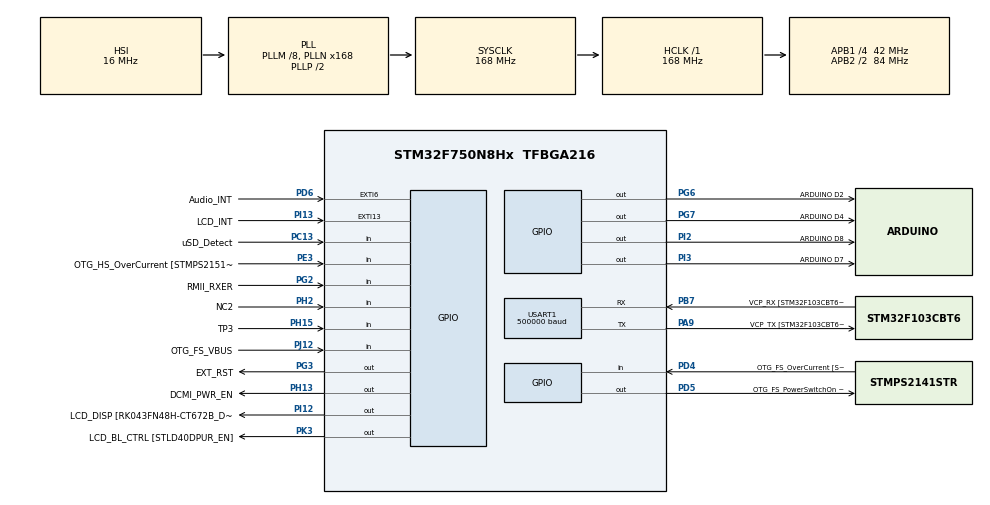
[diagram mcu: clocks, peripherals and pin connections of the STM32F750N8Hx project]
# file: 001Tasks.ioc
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PD12.GPIO_Label=QSPI_D1 [N25Q128A13EF840E_DQ1]
SH.FMC_A0.0=FMC_A0
PH15.GPIO_Label=TP3
NVIC.TIM6_DAC_IRQn=true\:0\:0\:false\:false\:true\:false\:true
PG8.Signal=FMC_SDCLK
PG0.Signal=FMC_A10
PI15.GPIO_Label=LCD_R0 [RK043FN48H-CT672B_R0]
PK1.Signal=LTDC_G6
SH.FMC_D5_DA5.0=FMC_D5
PF10.GPIO_PuPd=GPIO_NOPULL
SH.FMC_D9_DA9.0=FMC_D9
PG15.GPIO_Label=FMC_SDNCAS [MT48LC4M32B2B5-6A_CAS]
PF7.Signal=ADC3_IN5
SH.FMC_SDNWE.0=FMC_SDNWE
PH9.Signal=DCMI_D0
SH.FMC_D11_DA11.0=FMC_D11
RCC.APB2TimFreq_Value=168000000
PB6.Signal=QUADSPI_BK1_NCS
PC7.Signal=USART6_RX
PD0.Signal=FMC_D2_DA2
PD8.Signal=FMC_D13_DA13
PE1.Signal=FMC_NBL1
PF1.GPIO_Label=FMC_A1 [MT48LC4M32B2B5-6A_A1]
PI4.GPIO_Label=SAI2_MCLKA [WM8994ECS/R_MCLK1]
PK4.GPIO_Label=LCD_B5 [RK043FN48H-CT672B_B5]
PD1.GPIO_Label=FMC_D3 [MT48LC4M32B2B5-6A_DQ3]
PB12.GPIO_Label=ULPI_D5 [USB3320C-EZK_D5]
PF12.GPIO_Label=FMC_A6 [MT48LC4M32B2B5-6A_A6]
SH.S_TIM12_CH1.0=TIM12_CH1
PC4.GPIO_Label=RMII_RXD0 [LAN8742A-CZ-TR_RXD0]
PE9.Signal=FMC_D6_DA6
SH.FMC_A2.0=FMC_A2
PB1.GPIO_Label=ULPI_D2 [USB3320C-EZK_D2]
PE4.GPIO_Label=LCD_B0 [RK043FN48H-CT672B_B0]
PG4.GPIO_Label=FMC_BA0 [MT48LC4M32B2B5-6A_BA0]
PA8.Signal=S_TIM1_CH1
SH.FMC_D1_DA1.0=FMC_D1
PJ14.Signal=LTDC_B2
PB9.Signal=I2C1_SDA
Mcu.Package=TFBGA216
PB1.Signal=USB_OTG_HS_ULPI_D2
PB14.GPIO_PuPd=GPIO_NOPULL
NVIC.TimeBase=TIM6_DAC_IRQn
PD12.Signal=QUADSPI_BK1_IO1
NVIC.TimeBaseIP=TIM6
PA10.Signal=USB_OTG_FS_ID
PE12.GPIO_Label=FMC_D9 [MT48LC4M32B2B5-6A_DQ9]
RCC.APB2CLKDivider=RCC_HCLK_DIV2
RCC.APB1TimFreq_Value=84000000
PC14/OSC32_IN.GPIO_Label=RCC_OSC32_IN
PF9.GPIO_PuPd=GPIO_NOPULL
PA4.GPIO_Label=DCMI_HSYNC
PA8.GPIO_Speed=GPIO_SPEED_FREQ_LOW
PD15.Signal=FMC_D1_DA1
PJ1.GPIO_Label=LCD_R2 [RK043FN48H-CT672B_R2]
PG12.Signal=LTDC_B4
SH.FMC_A4.0=FMC_A4
PK4.Signal=LTDC_B5
PH13.Signal=GPIO_Output
PI13.GPIO_ModeDefaultEXTI=GPIO_MODE_EVT_RISING
PG5.Signal=FMC_A15_BA1
PC13.Signal=GPIO_Input
SH.FMC_D10_DA10.0=FMC_D10
PD3.Signal=DCMI_D5
PC2.Signal=USB_OTG_HS_ULPI_DIR
PI12.Signal=GPIO_Output
RCC.PWR_Regulator_Voltage_Scale=PWR_REGULATOR_VOLTAGE_SCALE2
PJ11.Signal=LTDC_G4
PF8.GPIO_Label=ARDUINO A3
PD10.Signal=FMC_D15_DA15
PB8.GPIO_Label=ARDUINO SCL/D15
PJ8.GPIO_Label=LCD_G1 [RK043FN48H-CT672B_G1]
PJ3.Signal=LTDC_R4
PI8.GPIO_Label=NC1 [TP2]
PA8.GPIO_Label=ARDUINO PWM/D10
PE8.GPIO_Label=FMC_D5 [MT48LC4M32B2B5-6A_DQ5]
PH11.GPIO_Label=DCMI_D2
PJ11.GPIO_Label=LCD_G4 [RK043FN48H-CT672B_G4]
PB14.Signal=SPI2_MISO
PA5.Signal=USB_OTG_HS_ULPI_CK
PF10.GPIO_Mode=GPIO_MODE_ANALOG
PJ4.GPIO_Label=LCD_R5 [RK043FN48H-CT672B_R5]
PE1.GPIO_Label=FMC_NBL1 [MT48LC4M32B2B5-6A_DQM1]
PK7.GPIO_Label=LCD_DE [RK043FN48H-CT672B_DE]
PI7.Signal=SAI2_FS_A
SH.FMC_A6.0=FMC_A6
PE14.Signal=FMC_D11_DA11
PB4.GPIO_Label=ARDUINO PWM/D3
PB15.GPIO_Label=ARDUINO MOSI/PWM/D11
PG7.GPIO_Label=ARDUINO D4
PI2.Signal=GPIO_Output
PF4.GPIO_Label=FMC_A4 [MT48LC4M32B2B5-6A_A4]
PA1.GPIO_Label=RMII_REF_CLK [LAN8742A-CZ-TR_REFCLK0]
PF13.Signal=FMC_A7
PA0/WKUP.GPIO_PuPd=GPIO_NOPULL
PJ15.GPIO_Label=LCD_B3 [RK043FN48H-CT672B_B3]
PC7.GPIO_Label=ARDUINO RX/D0
PA5.GPIO_Label=ULPI_CLK [USB3320C-EZK_CLKOUT]
PE5.GPIO_Label=DCMI_D6
PC12.GPIO_Label=SDMMC_CK
PJ8.Signal=LTDC_G1
PJ0.GPIO_Label=LCD_R1 [RK043FN48H-CT672B_R1]
ProjectManager.HeapSize=0x200
PH6.Signal=S_TIM12_CH1
NVIC.PriorityGroup=NVIC_PRIORITYGROUP_4
PF0.GPIO_Label=FMC_A0 [MT48LC4M32B2B5-6A_A0]
PI1.GPIO_Mode=GPIO_MODE_AF_PP
PE3.Signal=GPIO_Input
PC15/OSC32_OUT.Signal=RCC_OSC32_OUT
PF4.Signal=FMC_A4
PD2.Signal=SDMMC1_CMD
PI1.GPIO_Label=ARDUINO SCK/D13
Mcu.Family=STM32F7
PK3.Signal=GPIO_Output
SH.FMC_A8.0=FMC_A8
PC15/OSC32_OUT.GPIO_Label=RCC_OSC32_OUT
PH14.Signal=DCMI_D4
PH10.Signal=DCMI_D1
SH.FMC_D14_DA14.0=FMC_D14
PG2.Signal=GPIO_Input
PE11.GPIO_Label=FMC_D8 [MT48LC4M32B2B5-6A_DQ8]
USART1.BaudRate=500000
PD0.GPIO_Label=FMC_D2 [MT48LC4M32B2B5-6A_DQ2]
SH.FMC_A14_BA0.0=FMC_BA0
SH.FMC_A11.0=FMC_A11
PB13.GPIO_Label=ULPI_D6 [USB3320C-EZK_D6]
PG5.GPIO_Label=FMC_BA1 [MT48LC4M32B2B5-6A_BA1]
PB15.Signal=SPI2_MOSI
PG15.Signal=FMC_SDNCAS
PG11.Signal=ETH_TX_EN
PJ5.GPIO_Label=LCD_R6 [RK043FN48H-CT672B_R6]
PJ14.GPIO_Label=LCD_B2 [RK043FN48H-CT672B_B2]
PD13.Signal=QUADSPI_BK1_IO3
PA15.GPIO_Label=ARDUINO PWM/D9
PJ2.Signal=LTDC_R3
RCC.FLatency=FLASH_LATENCY_5
SH.FMC_NBL1.0=FMC_NBL1
PA15.GPIO_ModeDefaultPP=GPIO_MODE_AF_PP
RCC.HSE_VALUE=25000000
PF7.GPIO_Mode=GPIO_MODE_ANALOG
PF8.GPIO_PuPd=GPIO_NOPULL
PH7.GPIO_Label=LCD_SCL [RK043FN48H-CT672B_SCL]
PJ7.GPIO_Label=LCD_G0 [RK043FN48H-CT672B_G0]
PF11.Signal=FMC_SDNRAS
PC11.GPIO_Label=SDMMC_D3
PJ12.GPIO_Label=OTG_FS_VBUS
PB7.Signal=USART1_RX
SH.S_TIM3_CH1.0=TIM3_CH1
PB7.GPIO_Label=VCP_RX [STM32F103CBT6_PA2]
PD13.GPIO_Label=QSPI_D3 [N25Q128A13EF840E_DQ3]
PA6.Signal=DCMI_PIXCLK
PB15.GPIO_PuPd=GPIO_NOPULL
PD5.GPIO_Label=OTG_FS_PowerSwitchOn [STMPS2141STR_EN]
PA15.Signal=S_TIM2_CH1_ETR
PF8.Signal=ADC3_IN6
PG0.GPIO_Label=FMC_A10 [MT48LC4M32B2B5-6A_A10]
PI0.GPIO_Label=ARDUINO PWM/CS/D5
PA0/WKUP.GPIO_Mode=GPIO_MODE_ANALOG
PB5.GPIO_Label=ULPI_D7 [USB3320C-EZK_D7]
PG11.GPIO_Label=RMII_TX_EN [LAN8742A-CZ-TR_TXEN]
PD3.GPIO_Label=DCMI_D5
PC5.Signal=ETH_RXD1
PE7.Signal=FMC_D4_DA4
PD6.Signal=GPXTI6
PF3.GPIO_Label=FMC_A3 [MT48LC4M32B2B5-6A_A3]
PE2.GPIO_Label=QSPI_D2 [N25Q128A13EF840E_DQ2]
PB4.Signal=S_TIM3_CH1
PG2.GPIO_Label=RMII_RXER
PA3.Signal=USB_OTG_HS_ULPI_D0
PK6.Signal=LTDC_B7
PD15.GPIO_Label=FMC_D1 [MT48LC4M32B2B5-6A_DQ1]
PG7.Signal=GPIO_Output
PH12.GPIO_Label=DCMI_D3
PC11.Signal=SDMMC1_D3
PI14.Signal=LTDC_CLK
PC8.Signal=SDMMC1_D0
PE14.GPIO_Label=FMC_D11 [MT48LC4M32B2B5-6A_DQ11]
PD9.Signal=FMC_D14_DA14
PA9.GPIO_PuPd=GPIO_NOPULL
PA12.GPIO_Label=OTG_FS_P
PD8.GPIO_Label=FMC_D13 [MT48LC4M32B2B5-6A_DQ13]
PG8.GPIO_Label=FMC_SDCLK [MT48LC4M32B2B5-6A_CLK]
USART1.VirtualMode-Asynchronous=VM_ASYNC
PA13.Signal=SYS_JTMS-SWDIO
PA9.Mode=Asynchronous
SH.S_TIM1_CH1.0=TIM1_CH1
PF6.Signal=ADC3_IN4
PB10.GPIO_Label=ULPI_D3 [USB3320C-EZK_D3]
SH.FMC_D13_DA13.0=FMC_D13
PH8.Signal=I2C3_SDA
RCC.USBFreq_Value=168000000
PF9.GPIO_Label=ARDUINO A2
PD10.GPIO_Label=FMC_D15 [MT48LC4M32B2B5-6A_DQ15]
PA1.Signal=ETH_REF_CLK
board=STM32F7508-DK
RCC.VCOOutputFreq_Value=336000000
PI9.Signal=LTDC_VSYNC
PH4.GPIO_Label=ULPI_NXT [USB3320C-EZK_NXT]
PI13.GPIO_Label=LCD_INT
PI4.Signal=SAI2_MCLK_A
PC1.GPIO_Label=RMII_MDC [LAN8742A-CZ-TR_MDC]
SH.FMC_D12_DA12.0=FMC_D12
PF15.GPIO_Label=FMC_A9 [MT48LC4M32B2B5-6A_A9]
PI1.GPIO_Speed=GPIO_SPEED_FREQ_LOW
PF1.Signal=FMC_A1
PF8.GPIO_Mode=GPIO_MODE_ANALOG
PJ0.Signal=LTDC_R1
PE0.Signal=FMC_NBL0
PE7.GPIO_Label=FMC_D4 [MT48LC4M32B2B5-6A_DQ4]
PE12.Signal=FMC_D9_DA9
RCC.SYSCLKFreq_VALUE=168000000
USART1.OverSampling=UART_OVERSAMPLING_8
PJ5.Signal=LTDC_R6
PA15.GPIO_Speed=GPIO_SPEED_FREQ_LOW
RCC.HSI_VALUE=16000000
PA8.GPIO_PuPd=GPIO_NOPULL
PH0/OSC_IN.GPIO_Label=OSC_25M [NZ2520SB-25.00M_OUT]
PF9.GPIO_Mode=GPIO_MODE_ANALOG
PI3.GPIO_Label=ARDUINO D7
PH3.Signal=FMC_SDNE0
RCC.PLLM=8
RCC.PLLN=168
PA9.GPIO_Speed=GPIO_SPEED_FREQ_LOW
PB8.GPIO_Speed=GPIO_SPEED_FREQ_LOW
PJ2.GPIO_Label=LCD_R3 [RK043FN48H-CT672B_R3]
PB14.GPIO_Mode=GPIO_MODE_AF_PP
PB12.Signal=USB_OTG_HS_ULPI_D5
PJ13.Signal=LTDC_B1
PK1.GPIO_Label=LCD_G6 [RK043FN48H-CT672B_G6]
PA3.GPIO_Label=ULPI_D0 [USB3320C-EZK_D0]
SH.FMC_D7_DA7.0=FMC_D7
PK5.Signal=LTDC_B6
PB15.GPIO_Mode=GPIO_MODE_AF_PP
VP_SYS_VS_tim6.Mode=TIM6
PH12.Signal=DCMI_D3
PG4.Signal=FMC_A14_BA0
PC12.Signal=SDMMC1_CK
PB14.GPIO_Label=ARDUINO MISO/D12
PA14.GPIO_Label=SWCLK
PG6.GPIO_Label=ARDUINO D2
PH6.GPIO_Label=ARDUINO PWM/D6
PK6.GPIO_Label=LCD_B7 [RK043FN48H-CT672B_B7]
PC6.GPIO_Label=ARDUINO TX/D1
PB6.GPIO_Label=QSPI_NCS [N25Q128A13EF840E_S]
PI6.GPIO_Label=SAI2_SDA [WM8994ECS/R_DACDAT1]
PJ6.GPIO_Label=LCD_R7 [RK043FN48H-CT672B_R7]
PB13.Signal=USB_OTG_HS_ULPI_D6
PD6.GPIO_Label=Audio_INT
PG13.Signal=ETH_TXD0
PE6.GPIO_Label=DCMI_D7
PF6.GPIO_Label=ARDUINO A5
RCC.SYSCLKSource=RCC_SYSCLKSOURCE_PLLCLK
PJ10.Signal=LTDC_G3
SH.FMC_A15_BA1.0=FMC_BA1
PJ13.GPIO_Label=LCD_B1 [RK043FN48H-CT672B_B1]
PI0.GPIO_PuPd=GPIO_NOPULL
PH5.Signal=FMC_SDNWE
PD4.Signal=GPIO_Input
PH1/OSC_OUT.Signal=RCC_OSC_OUT
PC3.Signal=FMC_SDCKE0
PE5.Signal=DCMI_D6
PF10.GPIO_Label=ARDUINO A1
PH10.GPIO_Label=DCMI_D1
PB2.Signal=QUADSPI_CLK
PI6.Signal=SAI2_SD_A
PI3.Signal=GPIO_Output
PE2.Signal=QUADSPI_BK1_IO2
PF3.Signal=FMC_A3
PE10.Signal=FMC_D7_DA7
PD6.GPIO_ModeDefaultEXTI=GPIO_MODE_EVT_RISING
PJ4.Signal=LTDC_R5
SH.FMC_A1.0=FMC_A1
PH2.Signal=GPIO_Input
SH.FMC_SDCLK.0=FMC_SDCLK
PF14.Signal=FMC_A8
PF6.GPIO_Mode=GPIO_MODE_ANALOG
NVIC.USART1_IRQn=true\:0\:0\:false\:false\:true\:true\:true
PE10.GPIO_Label=FMC_D7 [MT48LC4M32B2B5-6A_DQ7]
SH.FMC_D3_DA3.0=FMC_D3
PI10.GPIO_Label=LCD_HSYNC [RK043FN48H-CT672B_HSYNC]
PB7.GPIO_PuPd=GPIO_NOPULL
PH15.Signal=GPIO_Input
PD9.GPIO_Label=FMC_D14 [MT48LC4M32B2B5-6A_DQ14]
PG9.Signal=DCMI_VSYNC
PA9.GPIO_Label=VCP_TX [STM32F103CBT6_PA3]
PC6.Signal=USART6_TX
PB11.GPIO_Label=ULPI_D4 [USB3320C-EZK_D4]
PD7.Signal=SPDIFRX_IN0
PD1.Signal=FMC_D3_DA3
PA11.GPIO_Label=OTG_FS_N
PF14.GPIO_Label=FMC_A8 [MT48LC4M32B2B5-6A_A8]
PC0.Signal=USB_OTG_HS_ULPI_STP
RCC.APB1CLKDivider=RCC_HCLK_DIV4
PF13.GPIO_Label=FMC_A7 [MT48LC4M32B2B5-6A_A7]
PG13.GPIO_Label=RMII_TXD0 [LAN8742A-CZ-TR_TXD0]
PG10.Signal=SAI2_SD_B
SH.FMC_A3.0=FMC_A3
PJ7.Signal=LTDC_G0
PI0.GPIO_Speed=GPIO_SPEED_FREQ_LOW
PB14.GPIO_Speed=GPIO_SPEED_FREQ_LOW
SH.FMC_D15_DA15.0=FMC_D15
PA9.Signal=USART1_TX
PB4.GPIO_PuPd=GPIO_NOPULL
PE9.GPIO_Label=FMC_D6 [MT48LC4M32B2B5-6A_DQ6]
PB10.Signal=USB_OTG_HS_ULPI_D3
PJ15.Signal=LTDC_B3
PH9.GPIO_Label=DCMI_D0
PI9.GPIO_Label=LCD_VSYNC [RK043FN48H-CT672B_VSYNC]
PA8.GPIO_ModeDefaultPP=GPIO_MODE_AF_PP
PE15.Signal=FMC_D12_DA12
PE8.Signal=FMC_D5_DA5
PI1.Signal=SPI2_SCK
PA0/WKUP.GPIO_Label=ARDUINO A0
PG14.GPIO_Label=RMII_TXD1 [LAN8742A-CZ-TR_TXD1]
SH.FMC_SDNCAS.0=FMC_SDNCAS
PF7.GPIO_PuPd=GPIO_NOPULL
PH14.GPIO_Label=DCMI_D4
PA4.Signal=DCMI_HSYNC
PB5.Signal=USB_OTG_HS_ULPI_D7
PE13.GPIO_Label=FMC_D10 [MT48LC4M32B2B5-6A_DQ10]
PD11.Signal=QUADSPI_BK1_IO0
SH.FMC_A5.0=FMC_A5
PA11.Signal=USB_OTG_FS_DM
SH.S_TIM2_CH1_ETR.0=TIM2_CH1
PK3.GPIO_Label=LCD_BL_CTRL [STLD40DPUR_EN]
PF9.Signal=ADC3_IN7
PF6.GPIO_PuPd=GPIO_NOPULL
PC3.GPIO_Label=FMC_SDCKE0 [MT48LC4M32B2B5-6A_CKE]
PG3.GPIO_Label=EXT_RST
PB0.Signal=USB_OTG_HS_ULPI_D1
PC1.Signal=ETH_MDC
PG10.GPIO_Label=SAI2_SDB [WM8994ECS/R_ADCDAT1]
PD2.GPIO_Label=SDMMC_D0
PH2.GPIO_Label=NC2
PK7.Signal=LTDC_DE
RCC.CortexFreq_Value=168000000
PG6.Signal=GPIO_Output
PC10.Signal=SDMMC1_D2
SH.FMC_NBL0.0=FMC_NBL0
PC0.GPIO_Label=ULPI_STP [USB3320C-EZK_STP]
SH.FMC_D6_DA6.0=FMC_D6
PA0/WKUP.Signal=ADCx_IN0
PB0.GPIO_Label=ULPI_D1 [USB3320C-EZK_D1]
PH5.GPIO_Label=FMC_SDNME [MT48LC4M32B2B5-6A_WE]
PI5.GPIO_Label=SAI2_SCKA [WM8994ECS/R_BCLK1]
PC13.GPIO_Label=uSD_Detect
PK5.GPIO_Label=LCD_B6 [RK043FN48H-CT672B_B6]
PB11.Signal=USB_OTG_HS_ULPI_D4
PI14.GPIO_Label=LCD_CLK [RK043FN48H-CT672B_CLK]
ProjectManager.StackSize=0x400
PJ6.Signal=LTDC_R7
SH.FMC_A7.0=FMC_A7
PA12.Signal=USB_OTG_FS_DP
PD11.GPIO_Label=QSPI_D0 [N25Q128A13EF840E_DQ0]
RCC.HCLKFreq_Value=168000000
PF11.GPIO_Label=FMC_SDNRAS [MT48LC4M32B2B5-6A_RAS]
PF12.Signal=FMC_A6
PI13.Signal=GPXTI13
SH.FMC_A10.0=FMC_A10
RCC.AHBFreq_Value=168000000
SH.FMC_D8_DA8.0=FMC_D8
PI8.Signal=RTC_TS
SH.FMC_D2_DA2.0=FMC_D2
PE13.Signal=FMC_D10_DA10
PF7.GPIO_Label=ARDUINO A4
PI1.GPIO_PuPd=GPIO_NOPULL
PI5.Signal=SAI2_SCK_A
PI0.Signal=S_TIM5_CH4
PA10.GPIO_Label=OTG_FS_ID
SH.ADCx_IN0.0=ADC3_IN0
SH.FMC_SDNRAS.0=FMC_SDNRAS
PE4.Signal=LTDC_B0
PD7.GPIO_Label=SPDIF_RX0 [74LVC1G04SE_4]
PJ9.Signal=LTDC_G2
SH.FMC_D0_DA0.0=FMC_D0
PJ12.Signal=GPIO_Input
PC14/OSC32_IN.Signal=RCC_OSC32_IN
PK0.GPIO_Label=LCD_G5 [RK043FN48H-CT672B_G5]
PA2.GPIO_Label=RMII_MDIO [LAN8742A-CZ-TR_MDIO]
PF5.GPIO_Label=FMC_A5 [MT48LC4M32B2B5-6A_A5]
SH.FMC_A9.0=FMC_A9
PJ1.Signal=LTDC_R2
SH.FMC_D4_DA4.0=FMC_D4
PI12.GPIO_Label=LCD_DISP [RK043FN48H-CT672B_DISP] 
PE0.GPIO_Label=FMC_NBL0 [MT48LC4M32B2B5-6A_DQM0]
PH3.GPIO_Label=FMC_SDNE0 [MT48LC4M32B2B5-6A_CS]
PF5.Signal=FMC_A5
PH7.Signal=I2C3_SCL
PB9.GPIO_Speed=GPIO_SPEED_FREQ_LOW
PJ3.GPIO_Label=LCD_R4 [RK043FN48H-CT672B_R4]
PK2.GPIO_Label=LCD_G7 [RK043FN48H-CT672B_G7]
PF0.Signal=FMC_A0
PI2.GPIO_Label=ARDUINO D8
PC2.GPIO_Label=ULPI_DIR [USB3320C-EZK_DIR]
PB7.GPIO_Speed=GPIO_SPEED_FREQ_LOW
PB3.GPIO_Label=SWO
PK2.Signal=LTDC_G7
PB9.GPIO_Label=ARDUINO SDA/D14
PC10.GPIO_Label=SDMMC_D2
PH11.Signal=DCMI_D2
PG3.Signal=GPIO_Output
PG1.Signal=FMC_A11
PC4.Signal=ETH_RXD0
PI0.GPIO_ModeDefaultPP=GPIO_MODE_AF_PP
PI10.Signal=LTDC_HSYNC
PD5.Signal=GPIO_Output
PH13.GPIO_Label=DCMI_PWR_EN
PH8.GPIO_Label=LCD_SDA [RK043FN48H-CT672B_SDA]
PE15.GPIO_Label=FMC_D12 [MT48LC4M32B2B5-6A_DQ12]
PH4.Signal=USB_OTG_HS_ULPI_NXT
ProjectManager.TargetToolchain=STM32CubeIDE
PJ9.GPIO_Label=LCD_G2 [RK043FN48H-CT672B_G2]
PF2.Signal=FMC_A2
PE11.Signal=FMC_D8_DA8
RCC.LSE_VALUE=32768
PK0.Signal=LTDC_G5
PG9.GPIO_Label=DCMI_VSYNC
PG14.Signal=ETH_TXD1
PB4.GPIO_ModeDefaultPP=GPIO_MODE_AF_PP
PJ10.GPIO_Label=LCD_G3 [RK043FN48H-CT672B_G3]
PG1.GPIO_Label=FMC_A11 [MT48LC4M32B2B5-6A_A11]
PB9.GPIO_Mode=GPIO_MODE_AF_OD
PH0/OSC_IN.Signal=RCC_OSC_IN
PB4.GPIO_Speed=GPIO_SPEED_FREQ_LOW
RCC.APB2Freq_Value=84000000
PD4.GPIO_Label=OTG_FS_OverCurrent [STMPS2141STR_Fault]
PF10.Signal=ADC3_IN8
PB15.GPIO_Speed=GPIO_SPEED_FREQ_LOW
PI7.GPIO_Label=SAI2_FSA [WM8994ECS/R_LRCLK1]
SH.S_TIM5_CH4.0=TIM5_CH4
PF15.Signal=FMC_A9
PD14.GPIO_Label=FMC_D0 [MT48LC4M32B2B5-6A_DQ0]
PD5.PinState=GPIO_PIN_SET
PE6.Signal=DCMI_D7
Mcu.Name=STM32F750N8Hx
PA13.GPIO_Label=SWDIO
PA2.Signal=ETH_MDIO
PD14.Signal=FMC_D0_DA0
PB3.Signal=SYS_JTDO-SWO
PA7.GPIO_Label=RMII_CRS_DV [LAN8742A-CZ-TR_CRS_DV]
PC5.GPIO_Label=RMII_RXD1 [LAN8742A-CZ-TR_RXD1]
PB7.Mode=Asynchronous
PA14.Signal=SYS_JTCK-SWCLK
PG12.GPIO_Label=LCD_B4 [RK043FN48H-CT672B_B4]
PA15.GPIO_PuPd=GPIO_NOPULL
PI15.Signal=LTDC_R0
PB8.Signal=I2C1_SCL
PE3.GPIO_Label=OTG_HS_OverCurrent [STMPS2151STR_FAULT]
PC9.Signal=SDMMC1_D1
PB8.GPIO_Mode=GPIO_MODE_AF_OD
RCC.APB1Freq_Value=42000000
PA7.Signal=ETH_CRS_DV
PF2.GPIO_Label=FMC_A2 [MT48LC4M32B2B5-6A_A2]

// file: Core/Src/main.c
/* USER CODE BEGIN Header */
/**
  ******************************************************************************
  * @file           : main.c
  * @brief          : Main program body
  ******************************************************************************
  * @attention
  *
  * <h2><center>&copy; Copyright (c) 2021 STMicroelectronics.
  * All rights reserved.</center></h2>
  *
  * This software component is licensed by ST under BSD 3-Clause license,
  * the "License"; You may not use this file except in compliance with the
  * License. You may obtain a copy of the License at:
  *                        opensource.org/licenses/BSD-3-Clause
  *
  ******************************************************************************
  */
/* USER CODE END Header */
#include "main.h"
#include "usart.h"
#include "gpio.h"

/* USER CODE BEGIN Includes */
#include <stdio.h>
#include "FreeRTOS.h"
#include "task.h"
/* USER CODE END Includes */

/* USER CODE BEGIN PD */

// enable MCU cyclecounting, allowing timestamping for segger sysview
#define SEGGER_DEMCR						( *(volatile uint32_t *) (0xE000EDFC))
#define SEGGER_SYSVIEW_ENABLE_DBG()			( SEGGER_DEMCR |= (1 << 24) )

#define SEGGER_DWT_BASE						0xE0001000UL
#define SEGGER_DWT_LAR 						( *(volatile uint32_t *)(SEGGER_DWT_BASE + 0xFB0) )
#define MAGIC_KEY_WRITEACCESS 				(0xC5ACCE55)
#define SEGGER_GET_DBG_WRITEACCESS()		( SEGGER_DWT_LAR = MAGIC_KEY_WRITEACCESS)
#define SEGGER_DWT_CTRL 					( *(volatile uint32_t *)(SEGGER_DWT_BASE + 0) )
#define SEGGER_SYSVIEW_ENABLE_TIMESTAMP() 	(SEGGER_DWT_CTRL |= (1 << 0))
#define SEGGER_DWT_CYCCNT 					( *(volatile uint32_t *)(SEGGER_DWT_BASE + 4) )

/* USER CODE END PD */

/* USER CODE BEGIN PV */
TaskHandle_t task1_handle;
TaskHandle_t task2_handle;
BaseType_t status;

/* USER CODE END PV */

void SystemClock_Config(void);
/* USER CODE BEGIN PFP */
extern void USART1_IRQHandler();
static void task1_handler(void* parameters);
static void task2_handler(void* parameters);
/* USER CODE END PFP */

/* USER CODE BEGIN 0 */

extern void SEGGER_UART_init(uint32_t);
extern void startSysViewCustom(void);

// void vApplicationTickHook(void){
// 	SEGGER_SYSVIEW_PrintfTarget("Tick.");
// }
/* USER CODE END 0 */

int main(void)
{

  /* MCU Configuration--------------------------------------------------------*/

  /* Reset of all peripherals, Initializes the Flash interface and the Systick. */
  HAL_Init();

  /* Configure the system clock */
  SystemClock_Config();

  /* USER CODE BEGIN SysInit */
  SEGGER_GET_DBG_WRITEACCESS();
  SEGGER_SYSVIEW_ENABLE_DBG();
  SEGGER_SYSVIEW_ENABLE_TIMESTAMP();
  /* USER CODE END SysInit */

  /* Initialize all configured peripherals */
  MX_GPIO_Init();
  MX_USART1_UART_Init();
  /* USER CODE BEGIN 2 */

  SEGGER_UART_init(500000);

  SEGGER_SYSVIEW_Conf();
  startSysViewCustom(); // added here, because I'm not receiving that SysView hello string...

  traceSTART();

  status = xTaskCreate(task1_handler,  "Task-1",  200, "Hello world from Task-1\n", 2, &task1_handle);
  configASSERT(status == pdPASS);

  status = xTaskCreate(task2_handler,  "Task-2",  200, "Hello world from Task-2\n", 2, &task2_handle);
  configASSERT(status == pdPASS);

  vTaskStartScheduler();
  // Once scheduler starts, this function only exits if vTaskEndScheduler() is called from a task

  /* USER CODE END 2 */

  /* Infinite loop */
  while (1)
  {

  }
}

void SystemClock_Config(void)
{
  RCC_OscInitTypeDef RCC_OscInitStruct = {0};
  RCC_ClkInitTypeDef RCC_ClkInitStruct = {0};
  RCC_PeriphCLKInitTypeDef PeriphClkInitStruct = {0};

  /** Configure the main internal regulator output voltage
  */
  __HAL_RCC_PWR_CLK_ENABLE();
  __HAL_PWR_VOLTAGESCALING_CONFIG(PWR_REGULATOR_VOLTAGE_SCALE2);
  /** Initializes the RCC Oscillators according to the specified parameters
  * in the RCC_OscInitTypeDef structure.
  */
  RCC_OscInitStruct.OscillatorType = RCC_OSCILLATORTYPE_HSI;
  RCC_OscInitStruct.HSIState = RCC_HSI_ON;
  RCC_OscInitStruct.HSICalibrationValue = RCC_HSICALIBRATION_DEFAULT;
  RCC_OscInitStruct.PLL.PLLState = RCC_PLL_ON;
  RCC_OscInitStruct.PLL.PLLSource = RCC_PLLSOURCE_HSI;
  RCC_OscInitStruct.PLL.PLLM = 8;
  RCC_OscInitStruct.PLL.PLLN = 168;
  RCC_OscInitStruct.PLL.PLLP = RCC_PLLP_DIV2;
  RCC_OscInitStruct.PLL.PLLQ = 2;
  if (HAL_RCC_OscConfig(&RCC_OscInitStruct) != HAL_OK)
  {
    Error_Handler();
  }
  /** Initializes the CPU, AHB and APB buses clocks
  */
  RCC_ClkInitStruct.ClockType = RCC_CLOCKTYPE_HCLK|RCC_CLOCKTYPE_SYSCLK
                              |RCC_CLOCKTYPE_PCLK1|RCC_CLOCKTYPE_PCLK2;
  RCC_ClkInitStruct.SYSCLKSource = RCC_SYSCLKSOURCE_PLLCLK;
  RCC_ClkInitStruct.AHBCLKDivider = RCC_SYSCLK_DIV1;
  RCC_ClkInitStruct.APB1CLKDivider = RCC_HCLK_DIV4;
  RCC_ClkInitStruct.APB2CLKDivider = RCC_HCLK_DIV2;

  if (HAL_RCC_ClockConfig(&RCC_ClkInitStruct, FLASH_LATENCY_5) != HAL_OK)
  {
    Error_Handler();
  }
  PeriphClkInitStruct.PeriphClockSelection = RCC_PERIPHCLK_USART1;
  PeriphClkInitStruct.Usart1ClockSelection = RCC_USART1CLKSOURCE_PCLK2;
  if (HAL_RCCEx_PeriphCLKConfig(&PeriphClkInitStruct) != HAL_OK)
  {
    Error_Handler();
  }
}

/* USER CODE BEGIN 4 */
#define CPUID_CUSTOM  	*((volatile uint32_t*) (0xE000E000UL + 0x0D00UL) )

void print_cpuId(void) {
	printf("CPU ID: %08X \n", (unsigned int)CPUID_CUSTOM);
}

void print_cpuVariant(void) {
	uint32_t cpuid_rvalue = (CPUID_CUSTOM >> 20) & 0x0000000F;
	uint32_t cpuid_pvalue = CPUID_CUSTOM & 0x0000000F;
	printf("Variant: r%lup%lu \n", cpuid_rvalue, cpuid_pvalue);
}

static void task1_handler(void* parameters)
{

	char msg[100];
	while(1){
		// printf("%s", (char *)parameters);
		snprintf(msg, 100, (char *)parameters);
		SEGGER_SYSVIEW_PrintfTarget(msg);

		// print_cpuId();
		// print_cpuVariant();

		taskYIELD();
	}

	return;
}

static void task2_handler(void* parameters)
{
	char msg[100];
	while(1){
		// printf("%s", (char *)parameters);
		snprintf(msg, 100, (char *)parameters);
		SEGGER_SYSVIEW_PrintfTarget(msg);

		taskYIELD();
	}

	return;
}

void vAssertCalled(  uint32_t ulLine, const char *pcFile )
{
    /* Called if an assertion passed to configASSERT() fails.  See
    http://www.freertos.org/a00110.html#configASSERT for more information. */
	for(;;);
}
/* USER CODE END 4 */

 /**
  * @brief  Period elapsed callback in non blocking mode
  * @note   This function is called  when TIM6 interrupt took place, inside
  * HAL_TIM_IRQHandler(). It makes a direct call to HAL_IncTick() to increment
  * a global variable "uwTick" used as application time base.
  * @param  htim : TIM handle
  * @retval None
  */
void HAL_TIM_PeriodElapsedCallback(TIM_HandleTypeDef *htim)
{
  if (htim->Instance == TIM6) {
    HAL_IncTick();
  }
}

void Error_Handler(void)
{
  __disable_irq();
  while (1)
  {
  }
}

/************************ (C) COPYRIGHT STMicroelectronics *****END OF FILE****/
